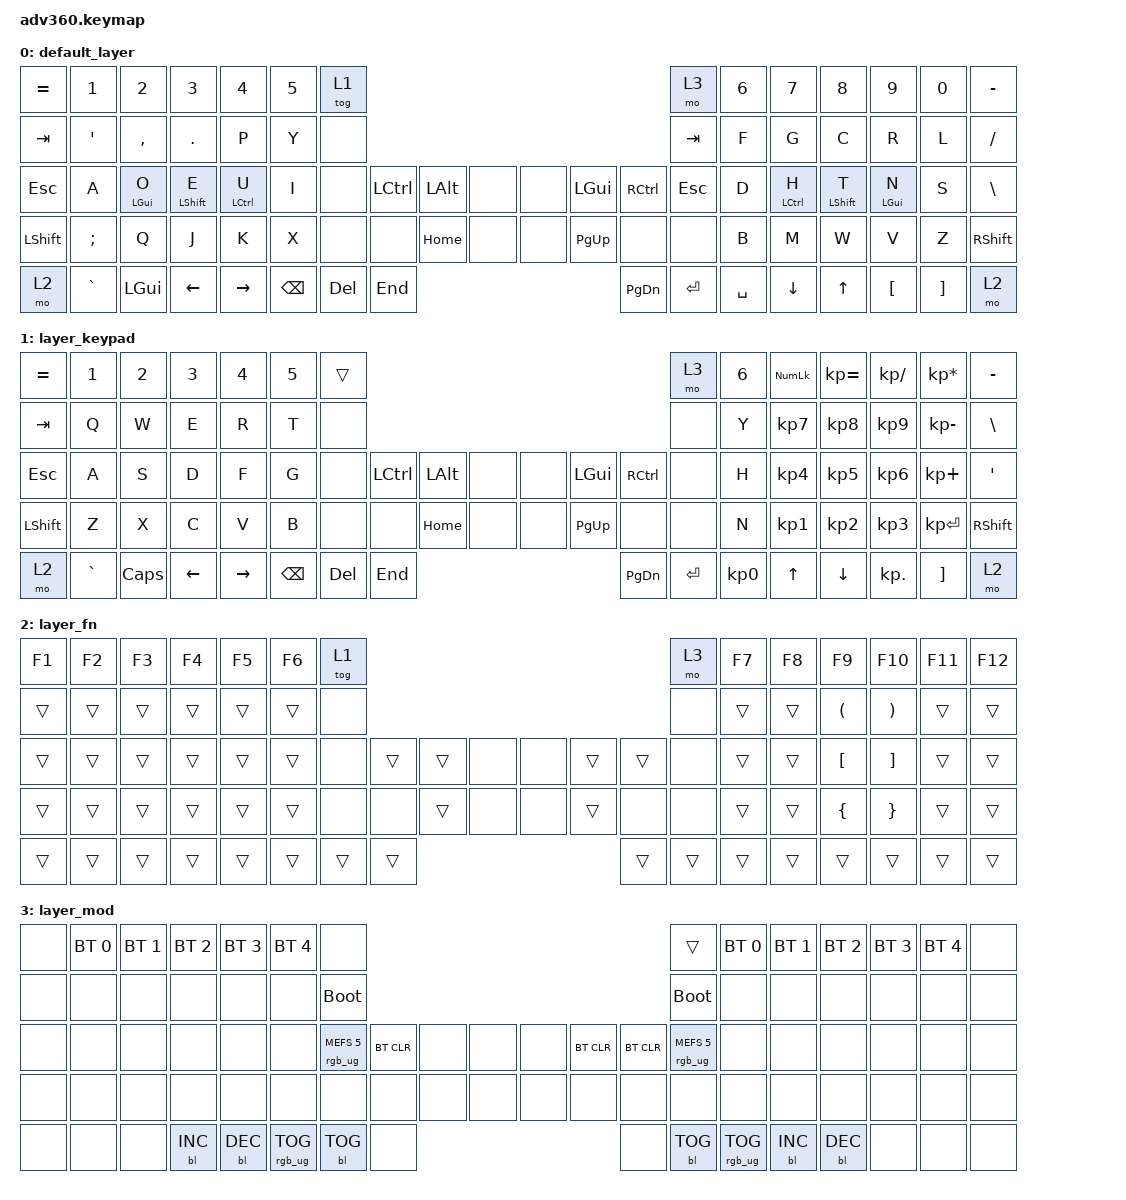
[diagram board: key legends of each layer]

/*
 * Copyright (c) 2020 The ZMK Contributors
 *
 * SPDX-License-Identifier: MIT
 */


/* THIS FILE WAS GENERATED!
 *
 * This file was generated automatically. You may or may not want to
 * edit it directly.
 */

#include <behaviors.dtsi>
#include <dt-bindings/zmk/keys.h>
#include <dt-bindings/zmk/bt.h>
#include <dt-bindings/zmk/rgb.h>
#include <dt-bindings/zmk/backlight.h>

/ {
    combos {
        compatible = "zmk,combos";
        combo_esc {
            timeout-ms = <50>;
            key-positions = <64 65>;
            bindings = <&kp ESC>;
        };
    };
};

/ {
  behaviors {
    #include "macros.dtsi"

    hm: homerow_mods {
        compatible = "zmk,behavior-hold-tap";
        label = "HOMEROW_MODS";
        #binding-cells = <2>;
        tapping-term-ms = <200>;
        quick_tap_ms = <175>;
        flavor = "balanced";
        bindings = <&kp>, <&kp>;
    };
  };

    keymap {
        compatible = "zmk,keymap";


        default_layer {
            bindings = <
 &kp EQUAL     &kp N1     &kp N2    &kp N3     &kp N4  &kp N5              &tog 1                                                                 &mo 3  &kp N6    &kp N7  &kp N8    &kp N9    &kp N0  &kp MINUS
   &kp TAB    &kp SQT  &kp COMMA   &kp DOT      &kp P   &kp Y               &none                                                               &kp TAB   &kp F     &kp G   &kp C     &kp R     &kp L  &kp SLASH
   &kp ESC      &kp A      &hm LGUI O     &hm LSHFT E      &hm LCTRL U   &kp I               &none  &kp LCTRL  &kp LALT   &none   &none   &kp LGUI  &kp RCTRL    &kp ESC   &kp D     &hm LCTRL H   &hm LSHFT T     &hm LGUI N     &kp S   &kp BSLH
 &kp LSHFT   &kp SEMI      &kp Q     &kp J      &kp K   &kp X               &none      &none  &kp HOME   &none   &none  &kp PG_UP      &none      &none   &kp B     &kp M   &kp W     &kp V     &kp Z  &kp RSHFT
     &mo 2  &kp GRAVE   &kp LGUI  &kp LEFT  &kp RIGHT                    &kp BSPC    &kp DEL   &kp END                  &kp PG_DN  &kp ENTER  &kp SPACE          &kp DOWN  &kp UP  &kp LBKT  &kp RBKT      &mo 2
            >;
        };

        layer_keypad {
            bindings = <
 &kp EQUAL     &kp N1    &kp N2    &kp N3     &kp N4  &kp N5              &trans                                                                 &mo 3  &kp N6  &kp KP_NUM  &kp KP_EQUAL  &kp KP_DIVIDE  &kp KP_MULTIPLY  &kp MINUS
   &kp TAB      &kp Q     &kp W     &kp E      &kp R   &kp T               &none                                                                 &none   &kp Y   &kp KP_N7     &kp KP_N8      &kp KP_N9     &kp KP_MINUS   &kp BSLH
   &kp ESC      &kp A     &kp S     &kp D      &kp F   &kp G               &none  &kp LCTRL  &kp LALT   &none   &none   &kp LGUI  &kp RCTRL      &none   &kp H   &kp KP_N4     &kp KP_N5      &kp KP_N6      &kp KP_PLUS    &kp SQT
 &kp LSHFT      &kp Z     &kp X     &kp C      &kp V   &kp B               &none      &none  &kp HOME   &none   &none  &kp PG_UP      &none      &none   &kp N   &kp KP_N1     &kp KP_N2      &kp KP_N3     &kp KP_ENTER  &kp RSHFT
     &mo 2  &kp GRAVE  &kp CAPS  &kp LEFT  &kp RIGHT                    &kp BSPC    &kp DEL   &kp END                  &kp PG_DN  &kp ENTER  &kp KP_N0              &kp UP      &kp DOWN     &kp KP_DOT         &kp RBKT      &mo 2
            >;
        };

        layer_fn {
            bindings = <
 &kp F1  &kp F2  &kp F3  &kp F4  &kp F5  &kp F6            &tog 1                                                   &mo 3  &kp F7  &kp F8                &kp F9                &kp F10  &kp F11  &kp F12
 &trans  &trans  &trans  &trans  &trans  &trans             &none                                                   &none  &trans  &trans  &kp LEFT_PARENTHESIS  &kp RIGHT_PARENTHESIS   &trans   &trans
 &trans  &trans  &trans  &trans  &trans  &trans             &none  &trans  &trans   &none   &none  &trans  &trans   &none  &trans  &trans              &kp LBKT               &kp RBKT   &trans   &trans
 &trans  &trans  &trans  &trans  &trans  &trans             &none   &none  &trans   &none   &none  &trans   &none   &none  &trans  &trans        &kp LEFT_BRACE        &kp RIGHT_BRACE   &trans   &trans
 &trans  &trans  &trans  &trans  &trans                    &trans  &trans  &trans                  &trans  &trans  &trans          &trans                &trans                 &trans   &trans   &trans
            >;
        };

        layer_mod {
            bindings = <
  &none  &bt BT_SEL 0  &bt BT_SEL 1  &bt BT_SEL 2  &bt BT_SEL 3  &bt BT_SEL 4                             &none                                                                              &trans  &bt BT_SEL 0  &bt BT_SEL 1  &bt BT_SEL 2  &bt BT_SEL 3  &bt BT_SEL 4   &none
  &none         &none         &none         &none         &none         &none                       &bootloader                                                                         &bootloader         &none         &none         &none         &none         &none   &none
  &none         &none         &none         &none         &none         &none            &rgb_ug RGB_MEFS_CMD 5  &bt BT_CLR   &none   &none   &none  &bt BT_CLR  &bt BT_CLR  &rgb_ug RGB_MEFS_CMD 5         &none         &none         &none         &none         &none   &none
  &none         &none         &none         &none         &none         &none                             &none       &none   &none   &none   &none       &none       &none                   &none         &none         &none         &none         &none         &none   &none
  &none         &none         &none    &bl BL_INC    &bl BL_DEC                                 &rgb_ug RGB_TOG  &bl BL_TOG   &none                       &none  &bl BL_TOG         &rgb_ug RGB_TOG                  &bl BL_INC    &bl BL_DEC         &none         &none   &none
            >;
        };

    };
};
